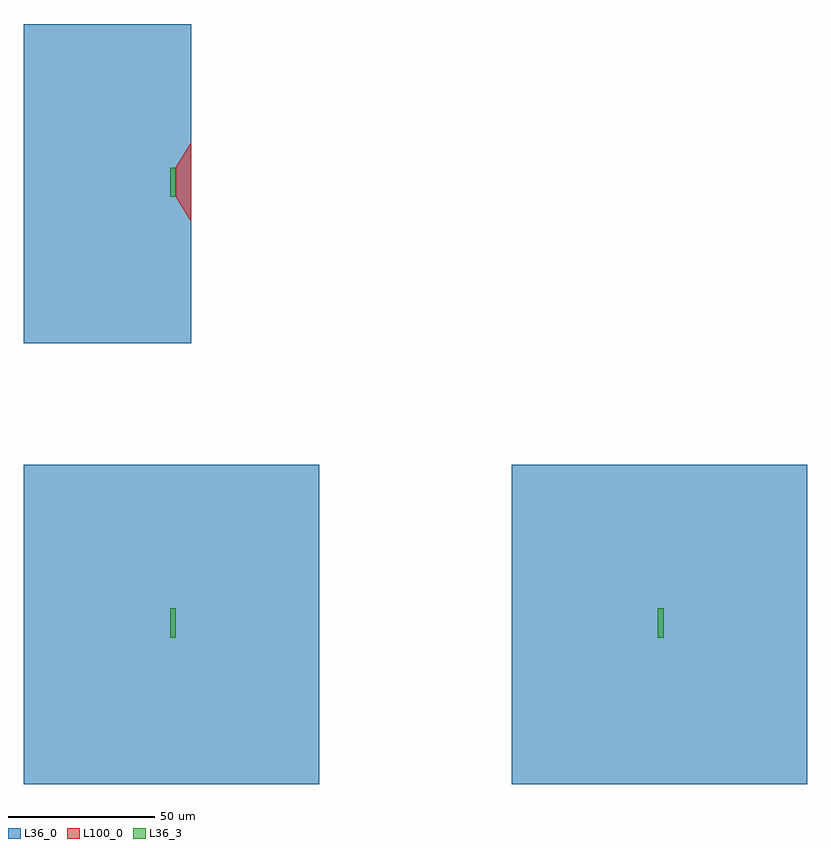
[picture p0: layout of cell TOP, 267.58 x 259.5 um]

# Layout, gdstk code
import gdstk
lib = gdstk.Library(unit=1e-6, precision=5e-09)
def R(c, l, rs):  # rectangles x0, y0, x1, y1
    for r in rs: c.add(gdstk.rectangle(r[:2], r[2:], *l))
def P(c, l, *ps):  # polygons
    for p in ps: c.add(gdstk.Polygon(p, *l))
L36_0 = (36, 0)
L36_3 = (36, 3)
L100_0 = (100, 0)

badcell = lib.new_cell('BADCELL')
R(badcell, L36_3, [(4030,22440,4040,22490)])

top = lib.new_cell('TOP')
R(top, L36_0, [(756,4438,857,4547), (922.585,4438,1023.585,4547), (756,4588.5,813.2,4697.5)])
R(top, L36_3, [(972.585,4488,974.585,4498), (806,4638.5,808,4648.5)])
P(top, L100_0, [(813.205,4629.955),(807.995,4638.495),(807.995,4648.505),(813.205,4657.045)])
top.add(gdstk.Reference(badcell, (0,0), magnification=0.2))

lib.write_gds('TOP.gds')
